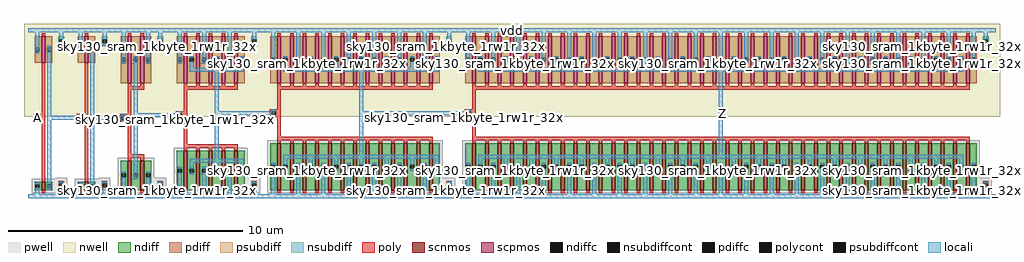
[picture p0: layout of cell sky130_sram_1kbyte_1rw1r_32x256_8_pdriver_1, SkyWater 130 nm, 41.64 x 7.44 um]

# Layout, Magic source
magic
tech sky130A
magscale 1 2
<< nwell >>
rect -36 679 8292 1471
<< locali >>
rect 0 1397 8256 1431
rect 64 636 98 702
rect 196 652 449 686
rect 547 653 817 687
rect 919 674 1293 708
rect 1609 690 2093 724
rect 2858 690 3757 724
rect 5911 690 5945 724
rect 919 670 953 674
rect 0 -17 8256 17
use sky130_sram_1kbyte_1rw1r_32x256_8_pinv_10  sky130_sram_1kbyte_1rw1r_32x256_8_pinv_10_0
transform 1 0 3676 0 1 0
box -36 -17 4616 1471
use sky130_sram_1kbyte_1rw1r_32x256_8_pinv_9  sky130_sram_1kbyte_1rw1r_32x256_8_pinv_9_0
transform 1 0 2012 0 1 0
box -36 -17 1700 1471
use sky130_sram_1kbyte_1rw1r_32x256_8_pinv_8  sky130_sram_1kbyte_1rw1r_32x256_8_pinv_8_0
transform 1 0 1212 0 1 0
box -36 -17 836 1471
use sky130_sram_1kbyte_1rw1r_32x256_8_pinv_7  sky130_sram_1kbyte_1rw1r_32x256_8_pinv_7_0
transform 1 0 736 0 1 0
box -36 -17 512 1471
use sky130_sram_1kbyte_1rw1r_32x256_8_pinv_6  sky130_sram_1kbyte_1rw1r_32x256_8_pinv_6_0
transform 1 0 368 0 1 0
box -36 -17 404 1471
use sky130_sram_1kbyte_1rw1r_32x256_8_pinv_6  sky130_sram_1kbyte_1rw1r_32x256_8_pinv_6_1
transform 1 0 0 0 1 0
box -36 -17 404 1471
<< labels >>
rlabel locali s 5928 707 5928 707 4 Z
port 1 nsew
rlabel locali s 81 669 81 669 4 A
port 2 nsew
rlabel locali s 4128 0 4128 0 4 gnd
port 3 nsew
rlabel locali s 4128 1414 4128 1414 4 vdd
port 4 nsew
<< properties >>
string FIXED_BBOX 0 0 8256 1414
string GDS_FILE $PDKPATH/libs.ref/sky130_sram_macros/gds/sky130_sram_1kbyte_1rw1r_32x256_8.gds
string GDS_END 6275200
string GDS_START 6273314
<< end >>

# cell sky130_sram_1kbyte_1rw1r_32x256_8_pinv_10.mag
magic
tech sky130A
magscale 1 2
<< nwell >>
rect -36 679 4616 1471
<< pwell >>
rect 4444 25 4546 159
<< psubdiff >>
rect 4470 109 4520 133
rect 4470 75 4478 109
rect 4512 75 4520 109
rect 4470 51 4520 75
<< nsubdiff >>
rect 4470 1339 4520 1363
rect 4470 1305 4478 1339
rect 4512 1305 4520 1339
rect 4470 1281 4520 1305
<< psubdiffcont >>
rect 4478 75 4512 109
<< nsubdiffcont >>
rect 4478 1305 4512 1339
<< poly >>
rect 114 740 144 907
rect 48 724 144 740
rect 48 690 64 724
rect 98 690 144 724
rect 48 674 144 690
rect 114 507 144 674
<< polycont >>
rect 64 690 98 724
<< locali >>
rect 0 1397 4580 1431
rect 62 1130 96 1397
rect 274 1130 308 1397
rect 490 1130 524 1397
rect 706 1130 740 1397
rect 922 1130 956 1397
rect 1138 1130 1172 1397
rect 1354 1130 1388 1397
rect 1570 1130 1604 1397
rect 1786 1130 1820 1397
rect 2002 1130 2036 1397
rect 2218 1130 2252 1397
rect 2434 1130 2468 1397
rect 2650 1130 2684 1397
rect 2866 1130 2900 1397
rect 3082 1130 3116 1397
rect 3298 1130 3332 1397
rect 3514 1130 3548 1397
rect 3730 1130 3764 1397
rect 3946 1130 3980 1397
rect 4162 1130 4196 1397
rect 4374 1130 4408 1397
rect 4478 1339 4512 1397
rect 4478 1289 4512 1305
rect 64 724 98 740
rect 64 674 98 690
rect 2218 724 2252 1096
rect 2218 690 2269 724
rect 2218 318 2252 690
rect 62 17 96 218
rect 274 17 308 218
rect 490 17 524 218
rect 706 17 740 218
rect 922 17 956 218
rect 1138 17 1172 218
rect 1354 17 1388 218
rect 1570 17 1604 218
rect 1786 17 1820 218
rect 2002 17 2036 218
rect 2218 17 2252 218
rect 2434 17 2468 218
rect 2650 17 2684 218
rect 2866 17 2900 218
rect 3082 17 3116 218
rect 3298 17 3332 218
rect 3514 17 3548 218
rect 3730 17 3764 218
rect 3946 17 3980 218
rect 4162 17 4196 218
rect 4374 17 4408 218
rect 4478 109 4512 125
rect 4478 17 4512 75
rect 0 -17 4580 17
use sky130_sram_1kbyte_1rw1r_32x256_8_contact_16  sky130_sram_1kbyte_1rw1r_32x256_8_contact_16_0
transform 1 0 48 0 1 674
box 0 0 1 1
use sky130_sram_1kbyte_1rw1r_32x256_8_contact_29  sky130_sram_1kbyte_1rw1r_32x256_8_contact_29_0
transform 1 0 4470 0 1 51
box 0 0 1 1
use sky130_sram_1kbyte_1rw1r_32x256_8_contact_28  sky130_sram_1kbyte_1rw1r_32x256_8_contact_28_0
transform 1 0 4470 0 1 1281
box 0 0 1 1
use sky130_sram_1kbyte_1rw1r_32x256_8_nmos_m40_w2_000_sli_dli_da_p  sky130_sram_1kbyte_1rw1r_32x256_8_nmos_m40_w2_000_sli_dli_da_p_0
transform 1 0 54 0 1 51
box -26 -26 4388 456
use sky130_sram_1kbyte_1rw1r_32x256_8_pmos_m40_w2_000_sli_dli_da_p  sky130_sram_1kbyte_1rw1r_32x256_8_pmos_m40_w2_000_sli_dli_da_p_0
transform 1 0 54 0 1 963
box -59 -56 4421 454
<< labels >>
rlabel locali s 81 707 81 707 4 A
port 1 nsew
rlabel locali s 2252 707 2252 707 4 Z
port 2 nsew
rlabel locali s 2290 0 2290 0 4 gnd
port 3 nsew
rlabel locali s 2290 1414 2290 1414 4 vdd
port 4 nsew
<< properties >>
string FIXED_BBOX 0 0 4580 1414
string GDS_FILE $PDKPATH/libs.ref/sky130_sram_macros/gds/sky130_sram_1kbyte_1rw1r_32x256_8.gds
string GDS_END 379994
string GDS_START 375564
<< end >>

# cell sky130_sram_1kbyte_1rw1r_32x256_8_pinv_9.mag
magic
tech sky130A
magscale 1 2
<< nwell >>
rect -36 679 1700 1471
<< pwell >>
rect 1528 25 1630 159
<< psubdiff >>
rect 1554 109 1604 133
rect 1554 75 1562 109
rect 1596 75 1604 109
rect 1554 51 1604 75
<< nsubdiff >>
rect 1554 1339 1604 1363
rect 1554 1305 1562 1339
rect 1596 1305 1604 1339
rect 1554 1281 1604 1305
<< psubdiffcont >>
rect 1562 75 1596 109
<< nsubdiffcont >>
rect 1562 1305 1596 1339
<< poly >>
rect 114 740 144 907
rect 48 724 144 740
rect 48 690 64 724
rect 98 690 144 724
rect 48 674 144 690
rect 114 507 144 674
<< polycont >>
rect 64 690 98 724
<< locali >>
rect 0 1397 1664 1431
rect 62 1130 96 1397
rect 274 1130 308 1397
rect 490 1130 524 1397
rect 706 1130 740 1397
rect 922 1130 956 1397
rect 1138 1130 1172 1397
rect 1354 1130 1388 1397
rect 1562 1339 1596 1397
rect 1562 1289 1596 1305
rect 64 724 98 740
rect 64 674 98 690
rect 812 724 846 1096
rect 812 690 863 724
rect 812 318 846 690
rect 62 17 96 218
rect 274 17 308 218
rect 490 17 524 218
rect 706 17 740 218
rect 922 17 956 218
rect 1138 17 1172 218
rect 1354 17 1388 218
rect 1562 109 1596 125
rect 1562 17 1596 75
rect 0 -17 1664 17
use sky130_sram_1kbyte_1rw1r_32x256_8_contact_16  sky130_sram_1kbyte_1rw1r_32x256_8_contact_16_0
transform 1 0 48 0 1 674
box 0 0 1 1
use sky130_sram_1kbyte_1rw1r_32x256_8_contact_29  sky130_sram_1kbyte_1rw1r_32x256_8_contact_29_0
transform 1 0 1554 0 1 51
box 0 0 1 1
use sky130_sram_1kbyte_1rw1r_32x256_8_contact_28  sky130_sram_1kbyte_1rw1r_32x256_8_contact_28_0
transform 1 0 1554 0 1 1281
box 0 0 1 1
use sky130_sram_1kbyte_1rw1r_32x256_8_nmos_m13_w2_000_sli_dli_da_p  sky130_sram_1kbyte_1rw1r_32x256_8_nmos_m13_w2_000_sli_dli_da_p_0
transform 1 0 54 0 1 51
box -26 -26 1472 456
use sky130_sram_1kbyte_1rw1r_32x256_8_pmos_m13_w2_000_sli_dli_da_p  sky130_sram_1kbyte_1rw1r_32x256_8_pmos_m13_w2_000_sli_dli_da_p_0
transform 1 0 54 0 1 963
box -59 -56 1505 454
<< labels >>
rlabel locali s 81 707 81 707 4 A
port 1 nsew
rlabel locali s 846 707 846 707 4 Z
port 2 nsew
rlabel locali s 832 0 832 0 4 gnd
port 3 nsew
rlabel locali s 832 1414 832 1414 4 vdd
port 4 nsew
<< properties >>
string FIXED_BBOX 0 0 1664 1414
string GDS_FILE $PDKPATH/libs.ref/sky130_sram_macros/gds/sky130_sram_1kbyte_1rw1r_32x256_8.gds
string GDS_END 382704
string GDS_START 380066
<< end >>

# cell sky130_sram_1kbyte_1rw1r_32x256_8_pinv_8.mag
magic
tech sky130A
magscale 1 2
<< nwell >>
rect -36 679 836 1471
<< pwell >>
rect 664 25 766 159
<< psubdiff >>
rect 690 109 740 133
rect 690 75 698 109
rect 732 75 740 109
rect 690 51 740 75
<< nsubdiff >>
rect 690 1339 740 1363
rect 690 1305 698 1339
rect 732 1305 740 1339
rect 690 1281 740 1305
<< psubdiffcont >>
rect 698 75 732 109
<< nsubdiffcont >>
rect 698 1305 732 1339
<< poly >>
rect 114 724 144 907
rect 48 708 144 724
rect 48 674 64 708
rect 98 674 144 708
rect 48 658 144 674
rect 114 443 144 658
<< polycont >>
rect 64 674 98 708
<< locali >>
rect 0 1397 800 1431
rect 62 1130 96 1397
rect 274 1130 308 1397
rect 490 1130 524 1397
rect 698 1339 732 1397
rect 698 1289 732 1305
rect 64 708 98 724
rect 64 658 98 674
rect 380 708 414 1096
rect 380 674 431 708
rect 380 286 414 674
rect 62 17 96 186
rect 274 17 308 186
rect 490 17 524 186
rect 698 109 732 125
rect 698 17 732 75
rect 0 -17 800 17
use sky130_sram_1kbyte_1rw1r_32x256_8_contact_16  sky130_sram_1kbyte_1rw1r_32x256_8_contact_16_0
transform 1 0 48 0 1 658
box 0 0 1 1
use sky130_sram_1kbyte_1rw1r_32x256_8_contact_29  sky130_sram_1kbyte_1rw1r_32x256_8_contact_29_0
transform 1 0 690 0 1 51
box 0 0 1 1
use sky130_sram_1kbyte_1rw1r_32x256_8_contact_28  sky130_sram_1kbyte_1rw1r_32x256_8_contact_28_0
transform 1 0 690 0 1 1281
box 0 0 1 1
use sky130_sram_1kbyte_1rw1r_32x256_8_nmos_m5_w1_680_sli_dli_da_p  sky130_sram_1kbyte_1rw1r_32x256_8_nmos_m5_w1_680_sli_dli_da_p_0
transform 1 0 54 0 1 51
box -26 -26 608 392
use sky130_sram_1kbyte_1rw1r_32x256_8_pmos_m5_w2_000_sli_dli_da_p  sky130_sram_1kbyte_1rw1r_32x256_8_pmos_m5_w2_000_sli_dli_da_p_0
transform 1 0 54 0 1 963
box -59 -56 641 454
<< labels >>
rlabel locali s 81 691 81 691 4 A
port 1 nsew
rlabel locali s 414 691 414 691 4 Z
port 2 nsew
rlabel locali s 400 0 400 0 4 gnd
port 3 nsew
rlabel locali s 400 1414 400 1414 4 vdd
port 4 nsew
<< properties >>
string FIXED_BBOX 0 0 800 1414
string GDS_FILE $PDKPATH/libs.ref/sky130_sram_macros/gds/sky130_sram_1kbyte_1rw1r_32x256_8.gds
string GDS_END 384902
string GDS_START 382776
<< end >>

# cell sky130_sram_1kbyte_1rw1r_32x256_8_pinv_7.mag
magic
tech sky130A
magscale 1 2
<< nwell >>
rect -36 679 512 1471
<< pwell >>
rect 340 25 442 159
<< psubdiff >>
rect 366 109 416 133
rect 366 75 374 109
rect 408 75 416 109
rect 366 51 416 75
<< nsubdiff >>
rect 366 1339 416 1363
rect 366 1305 374 1339
rect 408 1305 416 1339
rect 366 1281 416 1305
<< psubdiffcont >>
rect 374 75 408 109
<< nsubdiffcont >>
rect 374 1305 408 1339
<< poly >>
rect 114 703 144 907
rect 48 687 144 703
rect 48 653 64 687
rect 98 653 144 687
rect 48 637 144 653
rect 114 359 144 637
<< polycont >>
rect 64 653 98 687
<< locali >>
rect 0 1397 476 1431
rect 62 1130 96 1397
rect 64 687 98 703
rect 64 637 98 653
rect 166 687 200 1196
rect 270 1130 304 1397
rect 374 1339 408 1397
rect 374 1289 408 1305
rect 166 653 217 687
rect 166 144 200 653
rect 62 17 96 144
rect 270 17 304 144
rect 374 109 408 125
rect 374 17 408 75
rect 0 -17 476 17
use sky130_sram_1kbyte_1rw1r_32x256_8_contact_16  sky130_sram_1kbyte_1rw1r_32x256_8_contact_16_0
transform 1 0 48 0 1 637
box 0 0 1 1
use sky130_sram_1kbyte_1rw1r_32x256_8_contact_29  sky130_sram_1kbyte_1rw1r_32x256_8_contact_29_0
transform 1 0 366 0 1 51
box 0 0 1 1
use sky130_sram_1kbyte_1rw1r_32x256_8_contact_28  sky130_sram_1kbyte_1rw1r_32x256_8_contact_28_0
transform 1 0 366 0 1 1281
box 0 0 1 1
use sky130_sram_1kbyte_1rw1r_32x256_8_nmos_m2_w1_260_sli_dli_da_p  sky130_sram_1kbyte_1rw1r_32x256_8_nmos_m2_w1_260_sli_dli_da_p_0
transform 1 0 54 0 1 51
box -26 -26 284 308
use sky130_sram_1kbyte_1rw1r_32x256_8_pmos_m2_w2_000_sli_dli_da_p  sky130_sram_1kbyte_1rw1r_32x256_8_pmos_m2_w2_000_sli_dli_da_p_0
transform 1 0 54 0 1 963
box -59 -56 317 454
<< labels >>
rlabel locali s 81 670 81 670 4 A
port 1 nsew
rlabel locali s 200 670 200 670 4 Z
port 2 nsew
rlabel locali s 238 0 238 0 4 gnd
port 3 nsew
rlabel locali s 238 1414 238 1414 4 vdd
port 4 nsew
<< properties >>
string FIXED_BBOX 0 0 476 1414
string GDS_FILE $PDKPATH/libs.ref/sky130_sram_macros/gds/sky130_sram_1kbyte_1rw1r_32x256_8.gds
string GDS_END 386972
string GDS_START 384974
<< end >>

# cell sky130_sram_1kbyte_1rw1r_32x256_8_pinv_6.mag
magic
tech sky130A
magscale 1 2
<< nwell >>
rect -36 679 404 1471
<< pwell >>
rect 232 25 334 159
<< psubdiff >>
rect 258 109 308 133
rect 258 75 266 109
rect 300 75 308 109
rect 258 51 308 75
<< nsubdiff >>
rect 258 1339 308 1363
rect 258 1305 266 1339
rect 300 1305 308 1339
rect 258 1281 308 1305
<< psubdiffcont >>
rect 266 75 300 109
<< nsubdiffcont >>
rect 266 1305 300 1339
<< poly >>
rect 114 702 144 1113
rect 48 686 144 702
rect 48 652 64 686
rect 98 652 144 686
rect 48 636 144 652
rect 114 149 144 636
<< polycont >>
rect 64 652 98 686
<< locali >>
rect 0 1397 368 1431
rect 62 1218 96 1397
rect 266 1339 300 1397
rect 266 1289 300 1305
rect 64 686 98 702
rect 64 636 98 652
rect 162 686 196 1284
rect 162 652 213 686
rect 162 54 196 652
rect 266 109 300 125
rect 62 17 96 54
rect 266 17 300 75
rect 0 -17 368 17
use sky130_sram_1kbyte_1rw1r_32x256_8_contact_16  sky130_sram_1kbyte_1rw1r_32x256_8_contact_16_0
transform 1 0 48 0 1 636
box 0 0 1 1
use sky130_sram_1kbyte_1rw1r_32x256_8_contact_29  sky130_sram_1kbyte_1rw1r_32x256_8_contact_29_0
transform 1 0 258 0 1 51
box 0 0 1 1
use sky130_sram_1kbyte_1rw1r_32x256_8_contact_28  sky130_sram_1kbyte_1rw1r_32x256_8_contact_28_0
transform 1 0 258 0 1 1281
box 0 0 1 1
use sky130_sram_1kbyte_1rw1r_32x256_8_nmos_m1_w0_360_sli_dli_da_p  sky130_sram_1kbyte_1rw1r_32x256_8_nmos_m1_w0_360_sli_dli_da_p_0
transform 1 0 54 0 1 51
box -26 -26 176 98
use sky130_sram_1kbyte_1rw1r_32x256_8_pmos_m1_w1_120_sli_dli_da_p  sky130_sram_1kbyte_1rw1r_32x256_8_pmos_m1_w1_120_sli_dli_da_p_0
transform 1 0 54 0 1 1139
box -59 -54 209 278
<< labels >>
rlabel locali s 81 669 81 669 4 A
port 1 nsew
rlabel locali s 196 669 196 669 4 Z
port 2 nsew
rlabel locali s 184 0 184 0 4 gnd
port 3 nsew
rlabel locali s 184 1414 184 1414 4 vdd
port 4 nsew
<< properties >>
string FIXED_BBOX 0 0 368 1414
string GDS_FILE $PDKPATH/libs.ref/sky130_sram_macros/gds/sky130_sram_1kbyte_1rw1r_32x256_8.gds
string GDS_END 388914
string GDS_START 387044
<< end >>

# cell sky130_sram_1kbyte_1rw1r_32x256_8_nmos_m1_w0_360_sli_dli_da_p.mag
magic
tech sky130A
magscale 1 2
<< pwell >>
rect -26 -26 176 98
<< scnmos >>
rect 60 0 90 72
<< ndiff >>
rect 0 53 60 72
rect 0 19 8 53
rect 42 19 60 53
rect 0 0 60 19
rect 90 53 150 72
rect 90 19 108 53
rect 142 19 150 53
rect 90 0 150 19
<< ndiffc >>
rect 8 19 42 53
rect 108 19 142 53
<< poly >>
rect 60 72 90 98
rect 60 -26 90 0
<< locali >>
rect 8 53 42 69
rect 8 3 42 19
rect 108 53 142 69
rect 108 3 142 19
use sky130_sram_1kbyte_1rw1r_32x256_8_contact_11  sky130_sram_1kbyte_1rw1r_32x256_8_contact_11_0
transform 1 0 100 0 1 3
box 0 0 1 1
use sky130_sram_1kbyte_1rw1r_32x256_8_contact_11  sky130_sram_1kbyte_1rw1r_32x256_8_contact_11_1
transform 1 0 0 0 1 3
box 0 0 1 1
<< labels >>
rlabel locali s 25 36 25 36 4 S
port 1 nsew
rlabel locali s 125 36 125 36 4 D
port 2 nsew
rlabel poly s 75 36 75 36 4 G
port 3 nsew
<< properties >>
string FIXED_BBOX -25 -26 175 98
string GDS_FILE $PDKPATH/libs.ref/sky130_sram_macros/gds/sky130_sram_1kbyte_1rw1r_32x256_8.gds
string GDS_END 1950
string GDS_START 1154
<< end >>

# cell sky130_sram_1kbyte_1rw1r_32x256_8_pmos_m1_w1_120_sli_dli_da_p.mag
magic
tech sky130A
magscale 1 2
<< nwell >>
rect -54 196 204 278
rect -59 28 209 196
rect -54 -54 204 28
<< scpmos >>
rect 60 0 90 224
<< pdiff >>
rect 0 129 60 224
rect 0 95 8 129
rect 42 95 60 129
rect 0 0 60 95
rect 90 129 150 224
rect 90 95 108 129
rect 142 95 150 129
rect 90 0 150 95
<< pdiffc >>
rect 8 95 42 129
rect 108 95 142 129
<< poly >>
rect 60 224 90 250
rect 60 -26 90 0
<< locali >>
rect 8 129 42 145
rect 8 79 42 95
rect 108 129 142 145
rect 108 79 142 95
use sky130_sram_1kbyte_1rw1r_32x256_8_contact_12  sky130_sram_1kbyte_1rw1r_32x256_8_contact_12_0
transform 1 0 100 0 1 79
box 0 0 1 1
use sky130_sram_1kbyte_1rw1r_32x256_8_contact_12  sky130_sram_1kbyte_1rw1r_32x256_8_contact_12_1
transform 1 0 0 0 1 79
box 0 0 1 1
<< labels >>
rlabel locali s 25 112 25 112 4 S
port 1 nsew
rlabel locali s 125 112 125 112 4 D
port 2 nsew
rlabel poly s 75 112 75 112 4 G
port 3 nsew
<< properties >>
string FIXED_BBOX -54 -54 204 28
string GDS_FILE $PDKPATH/libs.ref/sky130_sram_macros/gds/sky130_sram_1kbyte_1rw1r_32x256_8.gds
string GDS_END 2904
string GDS_START 2044
<< end >>

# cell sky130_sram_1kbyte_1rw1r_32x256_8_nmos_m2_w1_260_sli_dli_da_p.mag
magic
tech sky130A
magscale 1 2
<< pwell >>
rect -26 -26 284 278
<< scnmos >>
rect 60 0 90 252
rect 168 0 198 252
<< ndiff >>
rect 0 143 60 252
rect 0 109 8 143
rect 42 109 60 143
rect 0 0 60 109
rect 90 143 168 252
rect 90 109 112 143
rect 146 109 168 143
rect 90 0 168 109
rect 198 143 258 252
rect 198 109 216 143
rect 250 109 258 143
rect 198 0 258 109
<< ndiffc >>
rect 8 109 42 143
rect 112 109 146 143
rect 216 109 250 143
<< poly >>
rect 60 278 198 308
rect 60 252 90 278
rect 168 252 198 278
rect 60 -26 90 0
rect 168 -26 198 0
<< locali >>
rect 8 143 42 159
rect 8 93 42 109
rect 112 143 146 159
rect 112 93 146 109
rect 216 143 250 159
rect 216 93 250 109
use sky130_sram_1kbyte_1rw1r_32x256_8_contact_11  sky130_sram_1kbyte_1rw1r_32x256_8_contact_11_0
transform 1 0 208 0 1 93
box 0 0 1 1
use sky130_sram_1kbyte_1rw1r_32x256_8_contact_11  sky130_sram_1kbyte_1rw1r_32x256_8_contact_11_1
transform 1 0 104 0 1 93
box 0 0 1 1
use sky130_sram_1kbyte_1rw1r_32x256_8_contact_11  sky130_sram_1kbyte_1rw1r_32x256_8_contact_11_2
transform 1 0 0 0 1 93
box 0 0 1 1
<< labels >>
rlabel locali s 233 126 233 126 4 S
port 1 nsew
rlabel locali s 25 126 25 126 4 S
port 1 nsew
rlabel locali s 129 126 129 126 4 D
port 2 nsew
rlabel poly s 129 293 129 293 4 G
port 3 nsew
<< properties >>
string FIXED_BBOX -25 -26 283 308
string GDS_FILE $PDKPATH/libs.ref/sky130_sram_macros/gds/sky130_sram_1kbyte_1rw1r_32x256_8.gds
string GDS_END 159084
string GDS_START 158042
<< end >>

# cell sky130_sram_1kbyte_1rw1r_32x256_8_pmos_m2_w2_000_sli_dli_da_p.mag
magic
tech sky130A
magscale 1 2
<< nwell >>
rect -54 284 312 454
rect -59 116 317 284
rect -54 -54 312 116
<< scpmos >>
rect 60 0 90 400
rect 168 0 198 400
<< pdiff >>
rect 0 217 60 400
rect 0 183 8 217
rect 42 183 60 217
rect 0 0 60 183
rect 90 217 168 400
rect 90 183 112 217
rect 146 183 168 217
rect 90 0 168 183
rect 198 217 258 400
rect 198 183 216 217
rect 250 183 258 217
rect 198 0 258 183
<< pdiffc >>
rect 8 183 42 217
rect 112 183 146 217
rect 216 183 250 217
<< poly >>
rect 60 400 90 426
rect 168 400 198 426
rect 60 -26 90 0
rect 168 -26 198 0
rect 60 -56 198 -26
<< locali >>
rect 8 217 42 233
rect 8 167 42 183
rect 112 217 146 233
rect 112 167 146 183
rect 216 217 250 233
rect 216 167 250 183
use sky130_sram_1kbyte_1rw1r_32x256_8_contact_12  sky130_sram_1kbyte_1rw1r_32x256_8_contact_12_0
transform 1 0 208 0 1 167
box 0 0 1 1
use sky130_sram_1kbyte_1rw1r_32x256_8_contact_12  sky130_sram_1kbyte_1rw1r_32x256_8_contact_12_1
transform 1 0 104 0 1 167
box 0 0 1 1
use sky130_sram_1kbyte_1rw1r_32x256_8_contact_12  sky130_sram_1kbyte_1rw1r_32x256_8_contact_12_2
transform 1 0 0 0 1 167
box 0 0 1 1
<< labels >>
rlabel locali s 25 200 25 200 4 S
port 1 nsew
rlabel locali s 233 200 233 200 4 S
port 1 nsew
rlabel locali s 129 200 129 200 4 D
port 2 nsew
rlabel poly s 129 -41 129 -41 4 G
port 3 nsew
<< properties >>
string FIXED_BBOX -54 -56 312 116
string GDS_FILE $PDKPATH/libs.ref/sky130_sram_macros/gds/sky130_sram_1kbyte_1rw1r_32x256_8.gds
string GDS_END 160284
string GDS_START 159178
<< end >>

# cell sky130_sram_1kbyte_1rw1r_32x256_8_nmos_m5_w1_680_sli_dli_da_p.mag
magic
tech sky130A
magscale 1 2
<< pwell >>
rect -26 -26 608 362
<< scnmos >>
rect 60 0 90 336
rect 168 0 198 336
rect 276 0 306 336
rect 384 0 414 336
rect 492 0 522 336
<< ndiff >>
rect 0 185 60 336
rect 0 151 8 185
rect 42 151 60 185
rect 0 0 60 151
rect 90 185 168 336
rect 90 151 112 185
rect 146 151 168 185
rect 90 0 168 151
rect 198 185 276 336
rect 198 151 220 185
rect 254 151 276 185
rect 198 0 276 151
rect 306 185 384 336
rect 306 151 328 185
rect 362 151 384 185
rect 306 0 384 151
rect 414 185 492 336
rect 414 151 436 185
rect 470 151 492 185
rect 414 0 492 151
rect 522 185 582 336
rect 522 151 540 185
rect 574 151 582 185
rect 522 0 582 151
<< ndiffc >>
rect 8 151 42 185
rect 112 151 146 185
rect 220 151 254 185
rect 328 151 362 185
rect 436 151 470 185
rect 540 151 574 185
<< poly >>
rect 60 362 522 392
rect 60 336 90 362
rect 168 336 198 362
rect 276 336 306 362
rect 384 336 414 362
rect 492 336 522 362
rect 60 -26 90 0
rect 168 -26 198 0
rect 276 -26 306 0
rect 384 -26 414 0
rect 492 -26 522 0
<< locali >>
rect 112 235 574 269
rect 8 185 42 201
rect 8 135 42 151
rect 112 185 146 235
rect 112 135 146 151
rect 220 185 254 201
rect 220 135 254 151
rect 328 185 362 235
rect 328 135 362 151
rect 436 185 470 201
rect 436 135 470 151
rect 540 185 574 235
rect 540 135 574 151
use sky130_sram_1kbyte_1rw1r_32x256_8_contact_11  sky130_sram_1kbyte_1rw1r_32x256_8_contact_11_0
transform 1 0 532 0 1 135
box 0 0 1 1
use sky130_sram_1kbyte_1rw1r_32x256_8_contact_11  sky130_sram_1kbyte_1rw1r_32x256_8_contact_11_1
transform 1 0 428 0 1 135
box 0 0 1 1
use sky130_sram_1kbyte_1rw1r_32x256_8_contact_11  sky130_sram_1kbyte_1rw1r_32x256_8_contact_11_2
transform 1 0 320 0 1 135
box 0 0 1 1
use sky130_sram_1kbyte_1rw1r_32x256_8_contact_11  sky130_sram_1kbyte_1rw1r_32x256_8_contact_11_3
transform 1 0 212 0 1 135
box 0 0 1 1
use sky130_sram_1kbyte_1rw1r_32x256_8_contact_11  sky130_sram_1kbyte_1rw1r_32x256_8_contact_11_4
transform 1 0 104 0 1 135
box 0 0 1 1
use sky130_sram_1kbyte_1rw1r_32x256_8_contact_11  sky130_sram_1kbyte_1rw1r_32x256_8_contact_11_5
transform 1 0 0 0 1 135
box 0 0 1 1
<< labels >>
rlabel locali s 453 168 453 168 4 S
port 1 nsew
rlabel locali s 237 168 237 168 4 S
port 1 nsew
rlabel locali s 25 168 25 168 4 S
port 1 nsew
rlabel locali s 343 252 343 252 4 D
port 2 nsew
rlabel poly s 291 377 291 377 4 G
port 3 nsew
<< properties >>
string FIXED_BBOX -25 -26 607 392
string GDS_FILE $PDKPATH/libs.ref/sky130_sram_macros/gds/sky130_sram_1kbyte_1rw1r_32x256_8.gds
string GDS_END 156034
string GDS_START 154278
<< end >>

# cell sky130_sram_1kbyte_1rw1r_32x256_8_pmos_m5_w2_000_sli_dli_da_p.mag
magic
tech sky130A
magscale 1 2
<< nwell >>
rect -54 284 636 454
rect -59 116 641 284
rect -54 -54 636 116
<< scpmos >>
rect 60 0 90 400
rect 168 0 198 400
rect 276 0 306 400
rect 384 0 414 400
rect 492 0 522 400
<< pdiff >>
rect 0 217 60 400
rect 0 183 8 217
rect 42 183 60 217
rect 0 0 60 183
rect 90 217 168 400
rect 90 183 112 217
rect 146 183 168 217
rect 90 0 168 183
rect 198 217 276 400
rect 198 183 220 217
rect 254 183 276 217
rect 198 0 276 183
rect 306 217 384 400
rect 306 183 328 217
rect 362 183 384 217
rect 306 0 384 183
rect 414 217 492 400
rect 414 183 436 217
rect 470 183 492 217
rect 414 0 492 183
rect 522 217 582 400
rect 522 183 540 217
rect 574 183 582 217
rect 522 0 582 183
<< pdiffc >>
rect 8 183 42 217
rect 112 183 146 217
rect 220 183 254 217
rect 328 183 362 217
rect 436 183 470 217
rect 540 183 574 217
<< poly >>
rect 60 400 90 426
rect 168 400 198 426
rect 276 400 306 426
rect 384 400 414 426
rect 492 400 522 426
rect 60 -26 90 0
rect 168 -26 198 0
rect 276 -26 306 0
rect 384 -26 414 0
rect 492 -26 522 0
rect 60 -56 522 -26
<< locali >>
rect 8 217 42 233
rect 8 167 42 183
rect 112 217 146 233
rect 112 133 146 183
rect 220 217 254 233
rect 220 167 254 183
rect 328 217 362 233
rect 328 133 362 183
rect 436 217 470 233
rect 436 167 470 183
rect 540 217 574 233
rect 540 133 574 183
rect 112 99 574 133
use sky130_sram_1kbyte_1rw1r_32x256_8_contact_12  sky130_sram_1kbyte_1rw1r_32x256_8_contact_12_0
transform 1 0 532 0 1 167
box 0 0 1 1
use sky130_sram_1kbyte_1rw1r_32x256_8_contact_12  sky130_sram_1kbyte_1rw1r_32x256_8_contact_12_1
transform 1 0 428 0 1 167
box 0 0 1 1
use sky130_sram_1kbyte_1rw1r_32x256_8_contact_12  sky130_sram_1kbyte_1rw1r_32x256_8_contact_12_2
transform 1 0 320 0 1 167
box 0 0 1 1
use sky130_sram_1kbyte_1rw1r_32x256_8_contact_12  sky130_sram_1kbyte_1rw1r_32x256_8_contact_12_3
transform 1 0 212 0 1 167
box 0 0 1 1
use sky130_sram_1kbyte_1rw1r_32x256_8_contact_12  sky130_sram_1kbyte_1rw1r_32x256_8_contact_12_4
transform 1 0 104 0 1 167
box 0 0 1 1
use sky130_sram_1kbyte_1rw1r_32x256_8_contact_12  sky130_sram_1kbyte_1rw1r_32x256_8_contact_12_5
transform 1 0 0 0 1 167
box 0 0 1 1
<< labels >>
rlabel locali s 25 200 25 200 4 S
port 1 nsew
rlabel locali s 453 200 453 200 4 S
port 1 nsew
rlabel locali s 237 200 237 200 4 S
port 1 nsew
rlabel locali s 343 116 343 116 4 D
port 2 nsew
rlabel poly s 291 -41 291 -41 4 G
port 3 nsew
<< properties >>
string FIXED_BBOX -54 -56 636 116
string GDS_FILE $PDKPATH/libs.ref/sky130_sram_macros/gds/sky130_sram_1kbyte_1rw1r_32x256_8.gds
string GDS_END 157948
string GDS_START 156128
<< end >>

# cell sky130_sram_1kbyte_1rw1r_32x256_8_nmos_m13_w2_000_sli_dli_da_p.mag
magic
tech sky130A
magscale 1 2
<< pwell >>
rect -26 -26 1472 426
<< scnmos >>
rect 60 0 90 400
rect 168 0 198 400
rect 276 0 306 400
rect 384 0 414 400
rect 492 0 522 400
rect 600 0 630 400
rect 708 0 738 400
rect 816 0 846 400
rect 924 0 954 400
rect 1032 0 1062 400
rect 1140 0 1170 400
rect 1248 0 1278 400
rect 1356 0 1386 400
<< ndiff >>
rect 0 217 60 400
rect 0 183 8 217
rect 42 183 60 217
rect 0 0 60 183
rect 90 217 168 400
rect 90 183 112 217
rect 146 183 168 217
rect 90 0 168 183
rect 198 217 276 400
rect 198 183 220 217
rect 254 183 276 217
rect 198 0 276 183
rect 306 217 384 400
rect 306 183 328 217
rect 362 183 384 217
rect 306 0 384 183
rect 414 217 492 400
rect 414 183 436 217
rect 470 183 492 217
rect 414 0 492 183
rect 522 217 600 400
rect 522 183 544 217
rect 578 183 600 217
rect 522 0 600 183
rect 630 217 708 400
rect 630 183 652 217
rect 686 183 708 217
rect 630 0 708 183
rect 738 217 816 400
rect 738 183 760 217
rect 794 183 816 217
rect 738 0 816 183
rect 846 217 924 400
rect 846 183 868 217
rect 902 183 924 217
rect 846 0 924 183
rect 954 217 1032 400
rect 954 183 976 217
rect 1010 183 1032 217
rect 954 0 1032 183
rect 1062 217 1140 400
rect 1062 183 1084 217
rect 1118 183 1140 217
rect 1062 0 1140 183
rect 1170 217 1248 400
rect 1170 183 1192 217
rect 1226 183 1248 217
rect 1170 0 1248 183
rect 1278 217 1356 400
rect 1278 183 1300 217
rect 1334 183 1356 217
rect 1278 0 1356 183
rect 1386 217 1446 400
rect 1386 183 1404 217
rect 1438 183 1446 217
rect 1386 0 1446 183
<< ndiffc >>
rect 8 183 42 217
rect 112 183 146 217
rect 220 183 254 217
rect 328 183 362 217
rect 436 183 470 217
rect 544 183 578 217
rect 652 183 686 217
rect 760 183 794 217
rect 868 183 902 217
rect 976 183 1010 217
rect 1084 183 1118 217
rect 1192 183 1226 217
rect 1300 183 1334 217
rect 1404 183 1438 217
<< poly >>
rect 60 426 1386 456
rect 60 400 90 426
rect 168 400 198 426
rect 276 400 306 426
rect 384 400 414 426
rect 492 400 522 426
rect 600 400 630 426
rect 708 400 738 426
rect 816 400 846 426
rect 924 400 954 426
rect 1032 400 1062 426
rect 1140 400 1170 426
rect 1248 400 1278 426
rect 1356 400 1386 426
rect 60 -26 90 0
rect 168 -26 198 0
rect 276 -26 306 0
rect 384 -26 414 0
rect 492 -26 522 0
rect 600 -26 630 0
rect 708 -26 738 0
rect 816 -26 846 0
rect 924 -26 954 0
rect 1032 -26 1062 0
rect 1140 -26 1170 0
rect 1248 -26 1278 0
rect 1356 -26 1386 0
<< locali >>
rect 112 267 1438 301
rect 8 217 42 233
rect 8 167 42 183
rect 112 217 146 267
rect 112 167 146 183
rect 220 217 254 233
rect 220 167 254 183
rect 328 217 362 267
rect 328 167 362 183
rect 436 217 470 233
rect 436 167 470 183
rect 544 217 578 267
rect 544 167 578 183
rect 652 217 686 233
rect 652 167 686 183
rect 760 217 794 267
rect 760 167 794 183
rect 868 217 902 233
rect 868 167 902 183
rect 976 217 1010 267
rect 976 167 1010 183
rect 1084 217 1118 233
rect 1084 167 1118 183
rect 1192 217 1226 267
rect 1192 167 1226 183
rect 1300 217 1334 233
rect 1300 167 1334 183
rect 1404 217 1438 267
rect 1404 167 1438 183
use sky130_sram_1kbyte_1rw1r_32x256_8_contact_11  sky130_sram_1kbyte_1rw1r_32x256_8_contact_11_0
transform 1 0 1396 0 1 167
box 0 0 1 1
use sky130_sram_1kbyte_1rw1r_32x256_8_contact_11  sky130_sram_1kbyte_1rw1r_32x256_8_contact_11_1
transform 1 0 1292 0 1 167
box 0 0 1 1
use sky130_sram_1kbyte_1rw1r_32x256_8_contact_11  sky130_sram_1kbyte_1rw1r_32x256_8_contact_11_2
transform 1 0 1184 0 1 167
box 0 0 1 1
use sky130_sram_1kbyte_1rw1r_32x256_8_contact_11  sky130_sram_1kbyte_1rw1r_32x256_8_contact_11_3
transform 1 0 1076 0 1 167
box 0 0 1 1
use sky130_sram_1kbyte_1rw1r_32x256_8_contact_11  sky130_sram_1kbyte_1rw1r_32x256_8_contact_11_4
transform 1 0 968 0 1 167
box 0 0 1 1
use sky130_sram_1kbyte_1rw1r_32x256_8_contact_11  sky130_sram_1kbyte_1rw1r_32x256_8_contact_11_5
transform 1 0 860 0 1 167
box 0 0 1 1
use sky130_sram_1kbyte_1rw1r_32x256_8_contact_11  sky130_sram_1kbyte_1rw1r_32x256_8_contact_11_6
transform 1 0 752 0 1 167
box 0 0 1 1
use sky130_sram_1kbyte_1rw1r_32x256_8_contact_11  sky130_sram_1kbyte_1rw1r_32x256_8_contact_11_7
transform 1 0 644 0 1 167
box 0 0 1 1
use sky130_sram_1kbyte_1rw1r_32x256_8_contact_11  sky130_sram_1kbyte_1rw1r_32x256_8_contact_11_8
transform 1 0 536 0 1 167
box 0 0 1 1
use sky130_sram_1kbyte_1rw1r_32x256_8_contact_11  sky130_sram_1kbyte_1rw1r_32x256_8_contact_11_9
transform 1 0 428 0 1 167
box 0 0 1 1
use sky130_sram_1kbyte_1rw1r_32x256_8_contact_11  sky130_sram_1kbyte_1rw1r_32x256_8_contact_11_10
transform 1 0 320 0 1 167
box 0 0 1 1
use sky130_sram_1kbyte_1rw1r_32x256_8_contact_11  sky130_sram_1kbyte_1rw1r_32x256_8_contact_11_11
transform 1 0 212 0 1 167
box 0 0 1 1
use sky130_sram_1kbyte_1rw1r_32x256_8_contact_11  sky130_sram_1kbyte_1rw1r_32x256_8_contact_11_12
transform 1 0 104 0 1 167
box 0 0 1 1
use sky130_sram_1kbyte_1rw1r_32x256_8_contact_11  sky130_sram_1kbyte_1rw1r_32x256_8_contact_11_13
transform 1 0 0 0 1 167
box 0 0 1 1
<< labels >>
rlabel locali s 453 200 453 200 4 S
port 1 nsew
rlabel locali s 1101 200 1101 200 4 S
port 1 nsew
rlabel locali s 669 200 669 200 4 S
port 1 nsew
rlabel locali s 25 200 25 200 4 S
port 1 nsew
rlabel locali s 885 200 885 200 4 S
port 1 nsew
rlabel locali s 1317 200 1317 200 4 S
port 1 nsew
rlabel locali s 237 200 237 200 4 S
port 1 nsew
rlabel locali s 775 284 775 284 4 D
port 2 nsew
rlabel poly s 723 441 723 441 4 G
port 3 nsew
<< properties >>
string FIXED_BBOX -25 -26 1471 456
string GDS_FILE $PDKPATH/libs.ref/sky130_sram_macros/gds/sky130_sram_1kbyte_1rw1r_32x256_8.gds
string GDS_END 150478
string GDS_START 146930
<< end >>

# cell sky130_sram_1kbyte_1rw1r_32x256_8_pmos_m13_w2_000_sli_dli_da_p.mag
magic
tech sky130A
magscale 1 2
<< nwell >>
rect -54 284 1500 454
rect -59 116 1505 284
rect -54 -54 1500 116
<< scpmos >>
rect 60 0 90 400
rect 168 0 198 400
rect 276 0 306 400
rect 384 0 414 400
rect 492 0 522 400
rect 600 0 630 400
rect 708 0 738 400
rect 816 0 846 400
rect 924 0 954 400
rect 1032 0 1062 400
rect 1140 0 1170 400
rect 1248 0 1278 400
rect 1356 0 1386 400
<< pdiff >>
rect 0 217 60 400
rect 0 183 8 217
rect 42 183 60 217
rect 0 0 60 183
rect 90 217 168 400
rect 90 183 112 217
rect 146 183 168 217
rect 90 0 168 183
rect 198 217 276 400
rect 198 183 220 217
rect 254 183 276 217
rect 198 0 276 183
rect 306 217 384 400
rect 306 183 328 217
rect 362 183 384 217
rect 306 0 384 183
rect 414 217 492 400
rect 414 183 436 217
rect 470 183 492 217
rect 414 0 492 183
rect 522 217 600 400
rect 522 183 544 217
rect 578 183 600 217
rect 522 0 600 183
rect 630 217 708 400
rect 630 183 652 217
rect 686 183 708 217
rect 630 0 708 183
rect 738 217 816 400
rect 738 183 760 217
rect 794 183 816 217
rect 738 0 816 183
rect 846 217 924 400
rect 846 183 868 217
rect 902 183 924 217
rect 846 0 924 183
rect 954 217 1032 400
rect 954 183 976 217
rect 1010 183 1032 217
rect 954 0 1032 183
rect 1062 217 1140 400
rect 1062 183 1084 217
rect 1118 183 1140 217
rect 1062 0 1140 183
rect 1170 217 1248 400
rect 1170 183 1192 217
rect 1226 183 1248 217
rect 1170 0 1248 183
rect 1278 217 1356 400
rect 1278 183 1300 217
rect 1334 183 1356 217
rect 1278 0 1356 183
rect 1386 217 1446 400
rect 1386 183 1404 217
rect 1438 183 1446 217
rect 1386 0 1446 183
<< pdiffc >>
rect 8 183 42 217
rect 112 183 146 217
rect 220 183 254 217
rect 328 183 362 217
rect 436 183 470 217
rect 544 183 578 217
rect 652 183 686 217
rect 760 183 794 217
rect 868 183 902 217
rect 976 183 1010 217
rect 1084 183 1118 217
rect 1192 183 1226 217
rect 1300 183 1334 217
rect 1404 183 1438 217
<< poly >>
rect 60 400 90 426
rect 168 400 198 426
rect 276 400 306 426
rect 384 400 414 426
rect 492 400 522 426
rect 600 400 630 426
rect 708 400 738 426
rect 816 400 846 426
rect 924 400 954 426
rect 1032 400 1062 426
rect 1140 400 1170 426
rect 1248 400 1278 426
rect 1356 400 1386 426
rect 60 -26 90 0
rect 168 -26 198 0
rect 276 -26 306 0
rect 384 -26 414 0
rect 492 -26 522 0
rect 600 -26 630 0
rect 708 -26 738 0
rect 816 -26 846 0
rect 924 -26 954 0
rect 1032 -26 1062 0
rect 1140 -26 1170 0
rect 1248 -26 1278 0
rect 1356 -26 1386 0
rect 60 -56 1386 -26
<< locali >>
rect 8 217 42 233
rect 8 167 42 183
rect 112 217 146 233
rect 112 133 146 183
rect 220 217 254 233
rect 220 167 254 183
rect 328 217 362 233
rect 328 133 362 183
rect 436 217 470 233
rect 436 167 470 183
rect 544 217 578 233
rect 544 133 578 183
rect 652 217 686 233
rect 652 167 686 183
rect 760 217 794 233
rect 760 133 794 183
rect 868 217 902 233
rect 868 167 902 183
rect 976 217 1010 233
rect 976 133 1010 183
rect 1084 217 1118 233
rect 1084 167 1118 183
rect 1192 217 1226 233
rect 1192 133 1226 183
rect 1300 217 1334 233
rect 1300 167 1334 183
rect 1404 217 1438 233
rect 1404 133 1438 183
rect 112 99 1438 133
use sky130_sram_1kbyte_1rw1r_32x256_8_contact_12  sky130_sram_1kbyte_1rw1r_32x256_8_contact_12_0
transform 1 0 1396 0 1 167
box 0 0 1 1
use sky130_sram_1kbyte_1rw1r_32x256_8_contact_12  sky130_sram_1kbyte_1rw1r_32x256_8_contact_12_1
transform 1 0 1292 0 1 167
box 0 0 1 1
use sky130_sram_1kbyte_1rw1r_32x256_8_contact_12  sky130_sram_1kbyte_1rw1r_32x256_8_contact_12_2
transform 1 0 1184 0 1 167
box 0 0 1 1
use sky130_sram_1kbyte_1rw1r_32x256_8_contact_12  sky130_sram_1kbyte_1rw1r_32x256_8_contact_12_3
transform 1 0 1076 0 1 167
box 0 0 1 1
use sky130_sram_1kbyte_1rw1r_32x256_8_contact_12  sky130_sram_1kbyte_1rw1r_32x256_8_contact_12_4
transform 1 0 968 0 1 167
box 0 0 1 1
use sky130_sram_1kbyte_1rw1r_32x256_8_contact_12  sky130_sram_1kbyte_1rw1r_32x256_8_contact_12_5
transform 1 0 860 0 1 167
box 0 0 1 1
use sky130_sram_1kbyte_1rw1r_32x256_8_contact_12  sky130_sram_1kbyte_1rw1r_32x256_8_contact_12_6
transform 1 0 752 0 1 167
box 0 0 1 1
use sky130_sram_1kbyte_1rw1r_32x256_8_contact_12  sky130_sram_1kbyte_1rw1r_32x256_8_contact_12_7
transform 1 0 644 0 1 167
box 0 0 1 1
use sky130_sram_1kbyte_1rw1r_32x256_8_contact_12  sky130_sram_1kbyte_1rw1r_32x256_8_contact_12_8
transform 1 0 536 0 1 167
box 0 0 1 1
use sky130_sram_1kbyte_1rw1r_32x256_8_contact_12  sky130_sram_1kbyte_1rw1r_32x256_8_contact_12_9
transform 1 0 428 0 1 167
box 0 0 1 1
use sky130_sram_1kbyte_1rw1r_32x256_8_contact_12  sky130_sram_1kbyte_1rw1r_32x256_8_contact_12_10
transform 1 0 320 0 1 167
box 0 0 1 1
use sky130_sram_1kbyte_1rw1r_32x256_8_contact_12  sky130_sram_1kbyte_1rw1r_32x256_8_contact_12_11
transform 1 0 212 0 1 167
box 0 0 1 1
use sky130_sram_1kbyte_1rw1r_32x256_8_contact_12  sky130_sram_1kbyte_1rw1r_32x256_8_contact_12_12
transform 1 0 104 0 1 167
box 0 0 1 1
use sky130_sram_1kbyte_1rw1r_32x256_8_contact_12  sky130_sram_1kbyte_1rw1r_32x256_8_contact_12_13
transform 1 0 0 0 1 167
box 0 0 1 1
<< labels >>
rlabel locali s 453 200 453 200 4 S
port 1 nsew
rlabel locali s 1101 200 1101 200 4 S
port 1 nsew
rlabel locali s 669 200 669 200 4 S
port 1 nsew
rlabel locali s 25 200 25 200 4 S
port 1 nsew
rlabel locali s 885 200 885 200 4 S
port 1 nsew
rlabel locali s 1317 200 1317 200 4 S
port 1 nsew
rlabel locali s 237 200 237 200 4 S
port 1 nsew
rlabel locali s 775 116 775 116 4 D
port 2 nsew
rlabel poly s 723 -41 723 -41 4 G
port 3 nsew
<< properties >>
string FIXED_BBOX -54 -56 1500 116
string GDS_FILE $PDKPATH/libs.ref/sky130_sram_macros/gds/sky130_sram_1kbyte_1rw1r_32x256_8.gds
string GDS_END 154184
string GDS_START 150572
<< end >>

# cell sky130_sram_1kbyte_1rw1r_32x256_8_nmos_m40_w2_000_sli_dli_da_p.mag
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
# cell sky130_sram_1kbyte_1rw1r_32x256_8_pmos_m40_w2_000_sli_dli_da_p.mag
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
